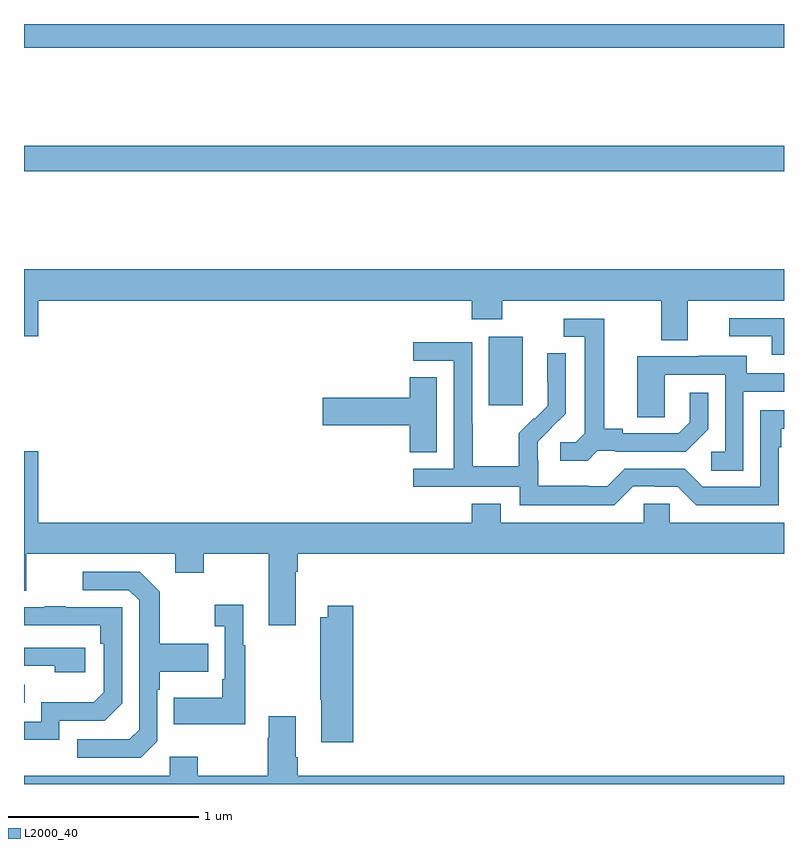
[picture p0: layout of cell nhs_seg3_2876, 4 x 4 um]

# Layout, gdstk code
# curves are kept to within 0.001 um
import gdstk
lib = gdstk.Library(unit=1e-6, precision=1e-09)
def R(c, l, rs):  # rectangles x0, y0, x1, y1
    for r in rs: c.add(gdstk.rectangle(r[:2], r[2:], *l))
def P(c, l, *ps):  # polygons
    for p in ps: c.add(gdstk.Polygon(p, *l))
L2000_40 = (2000, 40)

nhs_seg3_2876 = lib.new_cell('nhs_seg3_2876')
R(nhs_seg3_2876, L2000_40, [(261,670.827,261.005,670.923), (263.447,672.393,263.626,672.754), (261,673.624,265,673.76), (261,674.276,265,674.4)])
P(nhs_seg3_2876, L2000_40, [(264.493,672.944),(265,672.944),(265,673.108),(261,673.108),(261,672.756),(261.076,672.756),(261.076,672.944),(263.357,672.944),(263.357,672.845),(263.517,672.845),(263.517,672.944),(264.353,672.944),(264.353,672.736),(264.493,672.736)],
  [(265,672.852),(264.711,672.852),(264.711,672.756),(264.935,672.756),(264.935,672.66),(265,672.66)],
  [(264.018,672.153),(264.112,672.153),(264.112,672.15),(264.484,672.15),(264.6,672.266),(264.6,672.46),(264.503,672.46),(264.503,672.303),(264.446,672.246),(264.151,672.246),(264.151,672.269),(264.055,672.269),(264.055,672.849),(263.841,672.849),(263.841,672.753),(263.951,672.753),(263.951,672.245),(263.904,672.198),(263.823,672.198),(263.823,672.101),(263.966,672.101)],
  [(264.207,671.967),(264.323,671.967),(264.323,671.964),(264.441,671.964),(264.537,671.868),(264.972,671.868),(264.972,672.173),(264.985,672.173),(264.985,672.27),(265,672.27),(265,672.366),(264.876,672.366),(264.876,671.964),(264.573,671.964),(264.477,672.06),(264.162,672.06),(264.069,671.967),(263.969,671.967),(263.969,671.971),(263.706,671.971),(263.706,672.105),(263.704,672.105),(263.704,672.202),(263.85,672.35),(263.85,672.668),(263.754,672.668),(263.754,672.514),(263.756,672.514),(263.756,672.392),(263.685,672.321),(263.682,672.324),(263.605,672.247),(263.605,672.073),(263.361,672.073),(263.361,672.296),(263.358,672.296),(263.358,672.726),(263.049,672.726),(263.049,672.627),(263.262,672.627),(263.262,672.06),(263.049,672.06),(263.049,671.964),(263.61,671.964),(263.61,671.867),(264.107,671.867)],
  [(264.786,672.465),(265,672.465),(265,672.561),(264.805,672.561),(264.805,672.655),(264.551,672.655),(264.551,672.651),(264.227,672.651),(264.227,672.331),(264.372,672.331),(264.372,672.555),(264.69,672.555),(264.69,672.15),(264.618,672.15),(264.618,672.049),(264.786,672.049)],
  [(263.173,672.542),(263.03,672.542),(263.03,672.434),(262.572,672.434),(262.572,672.287),(263.03,672.287),(263.03,672.145),(263.173,672.145)],
  [(262.429,671.516),(262.442,671.516),(262.442,671.612),(265,671.612),(265,671.776),(264.399,671.776),(264.399,671.874),(264.261,671.874),(264.261,671.776),(263.509,671.776),(263.509,671.875),(263.357,671.875),(263.357,671.776),(261.076,671.776),(261.076,672.151),(261,672.151),(261,671.418),(261.013,671.418),(261.013,671.612),(261.797,671.612),(261.797,671.513),(261.945,671.513),(261.945,671.612),(262.289,671.612),(262.289,671.235),(262.429,671.235)],
  [(261.702,670.626),(261.702,670.895),(261.715,670.895),(261.715,670.991),(261.971,670.991),(261.971,671.139),(261.715,671.139),(261.715,671.411),(261.609,671.517),(261.309,671.517),(261.309,671.421),(261.552,671.421),(261.606,671.367),(261.606,670.686),(261.555,670.635),(261.279,670.635),(261.279,670.539),(261.615,670.539)],
  [(262.165,671.131),(262.153,671.131),(262.153,671.344),(262.005,671.344),(262.005,671.231),(262.056,671.231),(262.056,670.951),(262.044,670.951),(262.044,670.855),(261.787,670.855),(261.787,670.715),(262.165,670.715)],
  [(262.733,671.338),(262.598,671.338),(262.598,671.278),(262.558,671.278),(262.558,670.843),(262.565,670.843),(262.565,670.62),(262.733,670.62)],
  [(261.186,670.734),(261.426,670.734),(261.516,670.824),(261.516,671.331),(261.221,671.331),(261.221,671.336),(261.109,671.336),(261.109,671.331),(261,671.331),(261,671.235),(261.4,671.235),(261.4,671.138),(261.42,671.138),(261.42,670.884),(261.367,670.831),(261.09,670.831),(261.09,670.728),(261,670.728),(261,670.632),(261.186,670.632)],
  [(261.322,671.118),(261,671.118),(261,671.022),(261.161,671.022),(261.161,670.988),(261.322,670.988)],
  [(265,670.444),(262.442,670.444),(262.442,670.54),(262.429,670.54),(262.429,670.756),(262.289,670.756),(262.289,670.643),(262.282,670.643),(262.282,670.444),(261.915,670.444),(261.915,670.543),(261.768,670.543),(261.768,670.444),(261,670.444),(261,670.4),(265,670.4)])

lib.write_gds('nhs_seg3_2876.gds')
